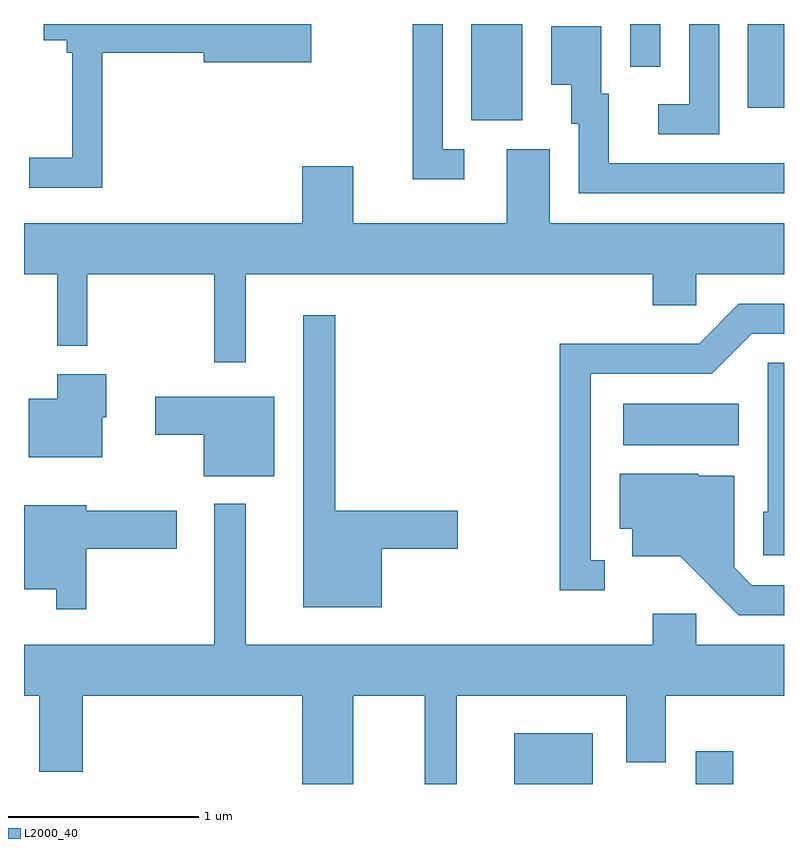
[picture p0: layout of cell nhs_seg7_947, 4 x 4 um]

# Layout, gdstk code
import gdstk
lib = gdstk.Library(unit=1e-6, precision=1e-09)
def R(c, l, rs):  # rectangles x0, y0, x1, y1
    for r in rs: c.add(gdstk.rectangle(r[:2], r[2:], *l))
def P(c, l, *ps):  # polygons
    for p in ps: c.add(gdstk.Polygon(p, *l))
L2000_40 = (2000, 40)

nhs_seg7_947 = lib.new_cell('nhs_seg7_947')
R(nhs_seg7_947, L2000_40, [(216.191,1758.252,216.604,1758.519), (217.146,1758.252,217.344,1758.424), (216.766,1760.036,217.374,1760.254), (215.966,1761.746,216.234,1762.252), (217.421,1761.811,217.611,1762.252), (216.801,1762.028,216.959,1762.252)])
P(nhs_seg7_947, L2000_40, [(215.928,1761.594),(215.814,1761.594),(215.814,1762.252),(215.656,1762.252),(215.656,1761.436),(215.928,1761.436)],
  [(217.269,1762.252),(217.111,1762.252),(217.111,1761.829),(216.948,1761.829),(216.948,1761.671),(217.269,1761.671)],
  [(214.024,1762.101),(214.556,1762.101),(214.556,1762.051),(215.124,1762.051),(215.124,1762.252),(213.716,1762.252),(213.716,1762.166),(213.836,1762.166),(213.836,1762.101),(213.866,1762.101),(213.866,1761.549),(213.638,1761.549),(213.638,1761.391),(214.024,1761.391)],
  [(217.611,1761.519),(216.689,1761.519),(216.689,1761.884),(216.649,1761.884),(216.649,1762.239),(216.386,1762.239),(216.386,1761.931),(216.491,1761.931),(216.491,1761.726),(216.531,1761.726),(216.531,1761.361),(217.611,1761.361)],
  [(214.779,1760.936),(216.921,1760.936),(216.921,1760.771),(217.149,1760.771),(217.149,1760.936),(217.611,1760.936),(217.611,1761.204),(216.379,1761.204),(216.379,1761.594),(216.151,1761.594),(216.151,1761.204),(215.344,1761.204),(215.344,1761.504),(215.076,1761.504),(215.076,1761.204),(213.611,1761.204),(213.611,1760.936),(213.786,1760.936),(213.786,1760.558),(213.944,1760.558),(213.944,1760.936),(214.611,1760.936),(214.611,1760.473),(214.779,1760.473)],
  [(216.668,1759.429),(216.594,1759.429),(216.594,1760.411),(217.232,1760.411),(217.442,1760.621),(217.611,1760.621),(217.611,1760.779),(217.374,1760.779),(217.164,1760.569),(216.431,1760.569),(216.431,1759.271),(216.668,1759.271)],
  [(215.494,1759.491),(215.894,1759.491),(215.894,1759.689),(215.249,1759.689),(215.249,1760.718),(215.081,1760.718),(215.081,1759.181),(215.494,1759.181)],
  [(217.611,1760.469),(217.526,1760.469),(217.526,1759.684),(217.501,1759.684),(217.501,1759.456),(217.611,1759.456)],
  [(214.024,1760.181),(214.044,1760.181),(214.044,1760.409),(213.786,1760.409),(213.786,1760.279),(213.636,1760.279),(213.636,1759.971),(214.024,1759.971)],
  [(214.929,1760.289),(214.301,1760.289),(214.301,1760.091),(214.556,1760.091),(214.556,1759.871),(214.929,1759.871)],
  [(217.611,1759.299),(217.442,1759.299),(217.349,1759.392),(217.349,1759.874),(217.16,1759.874),(217.16,1759.884),(216.746,1759.884),(216.746,1759.596),(216.811,1759.596),(216.811,1759.451),(217.064,1759.451),(217.374,1759.141),(217.611,1759.141)],
  [(215.344,1758.716),(215.721,1758.716),(215.721,1758.252),(215.889,1758.252),(215.889,1758.716),(216.781,1758.716),(216.781,1758.366),(216.989,1758.366),(216.989,1758.716),(217.611,1758.716),(217.611,1758.984),(217.149,1758.984),(217.149,1759.149),(216.921,1759.149),(216.921,1758.984),(214.779,1758.984),(214.779,1759.728),(214.611,1759.728),(214.611,1758.984),(213.611,1758.984),(213.611,1758.716),(213.691,1758.716),(213.691,1758.316),(213.919,1758.316),(213.919,1758.716),(215.076,1758.716),(215.076,1758.252),(215.344,1758.252)],
  [(213.939,1759.491),(214.414,1759.491),(214.414,1759.689),(213.939,1759.689),(213.939,1759.719),(213.611,1759.719),(213.611,1759.276),(213.781,1759.276),(213.781,1759.173),(213.939,1759.173)])

lib.write_gds('nhs_seg7_947.gds')
